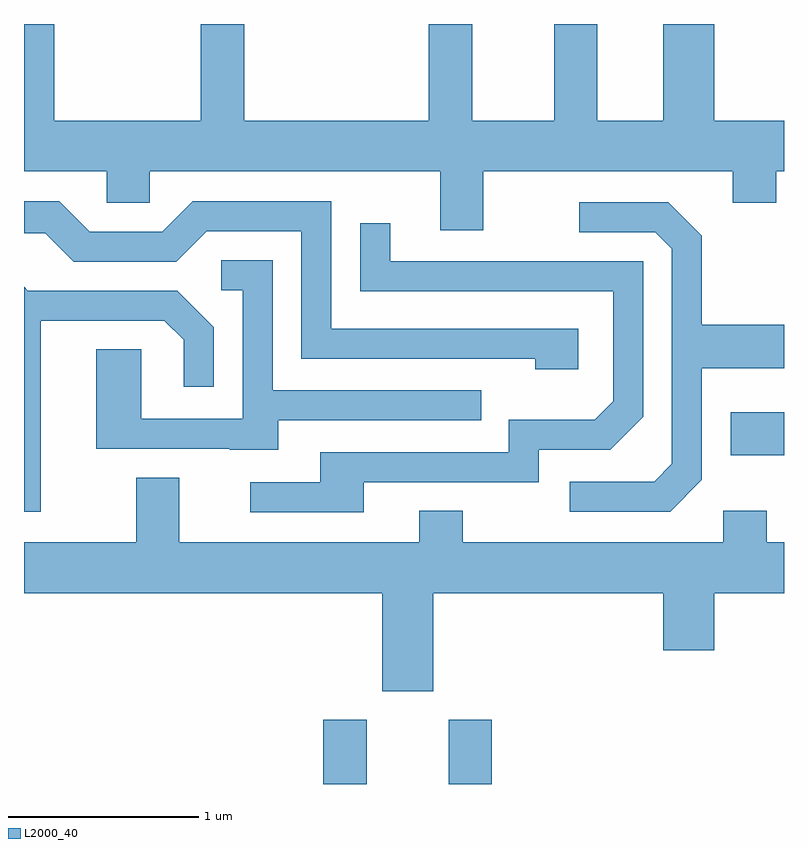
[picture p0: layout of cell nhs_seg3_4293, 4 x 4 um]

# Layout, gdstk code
import gdstk
lib = gdstk.Library(unit=1e-6, precision=1e-09)
def R(c, l, rs):  # rectangles x0, y0, x1, y1
    for r in rs: c.add(gdstk.rectangle(r[:2], r[2:], *l))
def P(c, l, *ps):  # polygons
    for p in ps: c.add(gdstk.Polygon(p, *l))
L2000_40 = (2000, 40)

nhs_seg3_4293 = lib.new_cell('nhs_seg3_4293')
R(nhs_seg3_4293, L2000_40, [(313.186,1133.892,313.414,1134.229), (313.846,1133.892,314.074,1134.229), (315.331,1135.621,315.611,1135.849)])
P(nhs_seg3_4293, L2000_40, [(314.029,1137.116),(315.341,1137.116),(315.341,1136.951),(315.569,1136.951),(315.569,1137.116),(315.611,1137.116),(315.611,1137.384),(315.244,1137.384),(315.244,1137.892),(314.976,1137.892),(314.976,1137.384),(314.629,1137.384),(314.629,1137.892),(314.401,1137.892),(314.401,1137.384),(313.969,1137.384),(313.969,1137.892),(313.741,1137.892),(313.741,1137.384),(312.769,1137.384),(312.769,1137.892),(312.541,1137.892),(312.541,1137.384),(311.769,1137.384),(311.769,1137.892),(311.611,1137.892),(311.611,1137.116),(312.046,1137.116),(312.046,1136.951),(312.274,1136.951),(312.274,1137.116),(313.801,1137.116),(313.801,1136.806),(314.029,1136.806)],
  [(314.529,1136.289),(313.229,1136.289),(313.229,1136.959),(312.499,1136.959),(312.339,1136.799),(311.957,1136.799),(311.797,1136.959),(311.611,1136.959),(311.611,1136.791),(311.724,1136.791),(311.874,1136.641),(312.412,1136.641),(312.572,1136.801),(313.071,1136.801),(313.071,1136.131),(314.301,1136.131),(314.301,1136.076),(314.529,1136.076)],
  [(315.179,1135.494),(315.179,1136.081),(315.611,1136.081),(315.611,1136.309),(315.179,1136.309),(315.179,1136.777),(315.002,1136.954),(314.533,1136.954),(314.533,1136.796),(314.934,1136.796),(315.021,1136.709),(315.021,1135.577),(314.929,1135.484),(314.483,1135.484),(314.483,1135.326),(315.012,1135.326)],
  [(313.399,1135.481),(314.319,1135.481),(314.319,1135.651),(314.697,1135.651),(314.869,1135.824),(314.869,1136.644),(313.539,1136.644),(313.539,1136.843),(313.381,1136.843),(313.381,1136.486),(314.711,1136.486),(314.711,1135.907),(314.614,1135.809),(314.161,1135.809),(314.161,1135.639),(313.171,1135.639),(313.171,1135.479),(312.803,1135.479),(312.803,1135.321),(313.399,1135.321)],
  [(312.949,1135.806),(314.018,1135.806),(314.018,1135.964),(312.919,1135.964),(312.919,1136.649),(312.648,1136.649),(312.648,1136.491),(312.761,1136.491),(312.761,1135.814),(312.229,1135.814),(312.229,1136.179),(311.991,1136.179),(311.991,1135.656),(312.695,1135.656),(312.695,1135.651),(312.949,1135.651)],
  [(311.699,1136.331),(312.349,1136.331),(312.451,1136.229),(312.451,1135.983),(312.609,1135.983),(312.609,1136.297),(312.417,1136.489),(311.632,1136.489),(311.611,1136.51),(311.611,1135.326),(311.699,1135.326)],
  [(313.764,1134.896),(314.976,1134.896),(314.976,1134.596),(315.244,1134.596),(315.244,1134.896),(315.611,1134.896),(315.611,1135.164),(315.519,1135.164),(315.519,1135.329),(315.291,1135.329),(315.291,1135.164),(313.919,1135.164),(313.919,1135.329),(313.691,1135.329),(313.691,1135.164),(312.429,1135.164),(312.429,1135.504),(312.201,1135.504),(312.201,1135.164),(311.611,1135.164),(311.611,1134.896),(313.496,1134.896),(313.496,1134.381),(313.764,1134.381)])

lib.write_gds('nhs_seg3_4293.gds')
